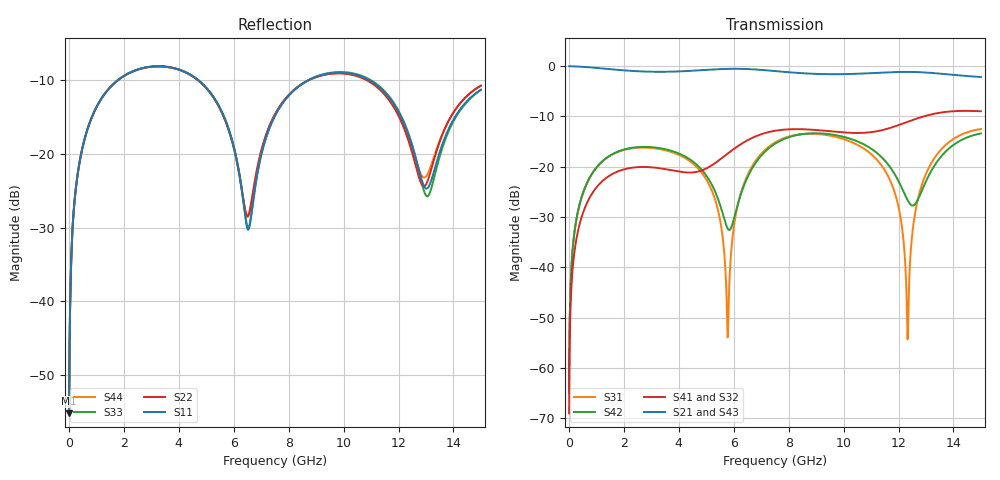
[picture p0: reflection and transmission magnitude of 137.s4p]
! Created with skrf 1.8.0 (http://scikit-rf.org).
# GHz S RI R 50.0
!freq ReS11 ImS11 ReS12 ImS12 ReS13 ImS13
! ReS14 ImS14
! ReS21 ImS21 ReS22 ImS22 ReS23 ImS23
! ReS24 ImS24
! ReS31 ImS31 ReS32 ImS32 ReS33 ImS33
! ReS34 ImS34
! ReS41 ImS41 ReS42 ImS42 ReS43 ImS43
! ReS44 ImS44
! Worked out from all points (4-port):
!   2499 points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, 5 MHz to 15 GHz, reference 50 ohm
!   strongest paths, dB at 5 MHz, 3.476 GHz, 7.19 GHz, 11.1 GHz, 15 GHz:
!     S21: 0.0, -1.1, -0.8, -1.4, -2.2
!     S43: 0.0, -1.1, -0.8, -1.4, -2.2
!     S41: -69.1, -20.5, -13.2, -13.1, -9.0
!     S32: -69.1, -20.5, -13.3, -13.1, -9.0
!     S42: -65.1, -16.5, -16.7, -16.8, -13.4
!     S31: -65.1, -16.7, -16.4, -18.0, -12.5
!   lowest |S11| = -55.2 dB at 5 MHz (marker M1), VSWR 1.00, Z = 50.1 + j0.105 ohm
!   |S11| at or under -10 dB: start of sweep to 1.771 GHz; 4.719 GHz to 8.715 GHz (3.996 GHz wide, 59.5 % of centre); 10.96 GHz to end of sweep
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0.005  0.00138 0.00105  0.9986 -0.00269  6.88e-05 0.000555  -6.69e-05 -0.000346
       0.9986 -0.00269  0.00138 0.00105  -6.69e-05 -0.000346  6.89e-05 0.000555
       6.88e-05 0.000555  -6.69e-05 -0.000346  0.00138 0.00105  0.9986 -0.00269
       -6.69e-05 -0.000346  6.89e-05 0.000555  0.9986 -0.00269  0.00138 0.00105
1.569404  0.2222 0.1906  0.6471 -0.6653  0.1083 0.0751  -0.0814 -0.0216
          0.6471 -0.6653  0.2212 0.1911  -0.0813 -0.0217  0.1116 0.0716
          0.1083 0.0751  -0.0813 -0.0217  0.2223 0.1906  0.6471 -0.6654
          -0.0814 -0.0216  0.1116 0.0716  0.6471 -0.6654  0.2212 0.1911
5.777407  0.0765 -0.1342  -0.8496 -0.3989  -0.0018 -0.000894  -0.0527 0.1241
          -0.8496 -0.3989  0.0817 -0.1282  -0.0539 0.1236  -0.0213 -0.0116
          -0.0018 -0.000894  -0.0539 0.1236  0.0773 -0.135  -0.8495 -0.3988
          -0.0527 0.1241  -0.0213 -0.0116  -0.8495 -0.3988  0.0819 -0.1292
6.558983  0.0312 0.00395  -0.9328 -0.0321  0.0157 0.0874  -3.82e-05 0.1865
          -0.9328 -0.0321  0.0389 0.00793  -0.00166 0.1864  -0.00177 0.0846
          0.0157 0.0874  -0.00166 0.1864  0.032 0.00316  -0.9328 -0.032
          -3.82e-05 0.1865  -0.00177 0.0846  -0.9328 -0.032  0.0382 0.00687
10.93581  0.287 -0.1368  0.3106 0.7906  0.1012 -0.094  0.1777 -0.1285
          0.3106 0.7906  0.2806 -0.132  0.179 -0.1232  0.0884 -0.1277
          0.1012 -0.094  0.179 -0.1232  0.2877 -0.1437  0.3113 0.7893
          0.1777 -0.1285  0.0884 -0.1277  0.3113 0.7893  0.2843 -0.1278
12.33014  0.0905 -0.108  0.7628 0.4302  -0.00187 -0.000435  0.1257 -0.2495
          0.7628 0.4302  0.0879 -0.0936  0.1325 -0.2458  -0.0388 -0.0257
          -0.00187 -0.000435  0.1325 -0.2458  0.0857 -0.1148  0.7628 0.4289
          0.1257 -0.2495  -0.0388 -0.0257  0.7628 0.4289  0.0964 -0.0931
15  0.2502 0.1099  0.5661 -0.5356  0.2336 0.0391  -0.2977 -0.1941
    0.5661 -0.5356  0.2677 0.1146  -0.293 -0.2012  0.2071 0.0542
    0.2336 0.0391  -0.293 -0.2012  0.2474 0.1133  0.5638 -0.5381
    -0.2977 -0.1941  0.2071 0.0542  0.5638 -0.5381  0.2705 0.1068
